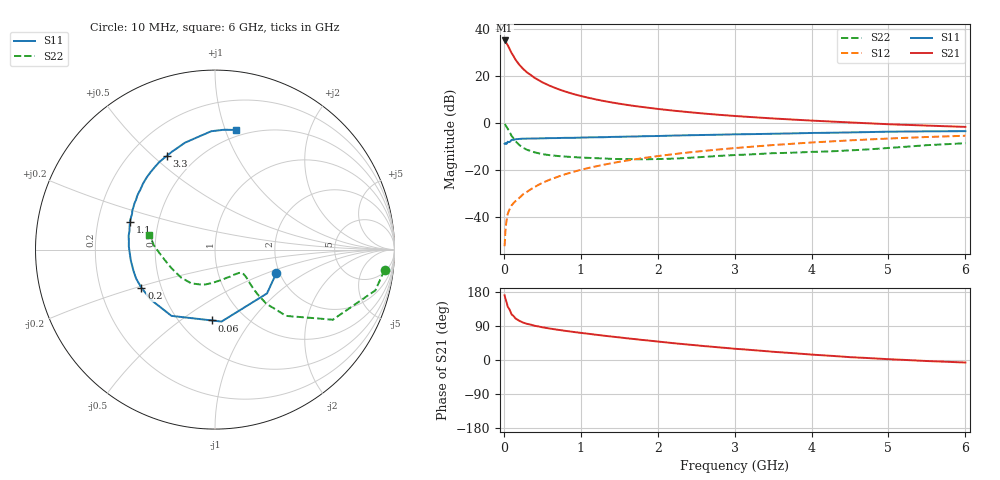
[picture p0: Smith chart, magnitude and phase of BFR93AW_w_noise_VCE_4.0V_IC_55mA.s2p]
! Infineon Technologies  Discrete & RF Semiconductors
! BFR93AW
! VCE =  4.0 V,  IC =  55 mA
! Common Emitter S-Parameters:  Jan 2017
# GHz  S  MA  R  50
!  f  S11  S21  S12  S22
! GHz  MAG  ANG  MAG  ANG  MAG  ANG  MAG  ANG
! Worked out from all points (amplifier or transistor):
!   77 points, 10 MHz to 6 GHz, reference 50 ohm
!   highest |S21| = 35.2 dB at 10 MHz (marker M1)
!   |S21| within 3 dB of that: start of sweep to 65.59 MHz
!   unconditionally stable (mu >= 1): 398.7 MHz to 2.082 GHz
!   at 130 MHz: K = 0.66, MSG = 31.1 dB, |S12| = -33.9 dB
!   at 2.2 GHz: K = 0.99, MSG = 9.3 dB, |S12| = -13.2 dB
!   at 6 GHz: K = 0.90, MSG = 1.9 dB, |S12| = -5.3 dB
!   lowest NFmin = 2.42 dB at 450 MHz
!   S11 on the Smith chart (normalised r, x): 10 MHz: 1.93, -0.58; 60 MHz: 0.71, -0.66; 200 MHz: 0.39, -0.21; 1.1 GHz: 0.34, +0.14; 3.3 GHz: 0.35, +0.56; 6 GHz: 0.44, +1.09
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0.01  0.3659 -20.8  57.83 170.7  0.0024 79.5  0.9513 -6.9
0.02  0.3789 -40.1  56.32 162.2  0.005 78.7  0.9215 -14.3
0.05  0.4025 -84.8  45.98 140.8  0.0117 65.5  0.7636 -30.8
0.06  0.395 -92.8  42.72 137.9  0.0129 64.4  0.7168 -32.6
0.1  0.4417 -123.3  31.34 120.5  0.0177 61.4  0.5403 -43.1
0.15  0.4536 -142.0  22.75 110.0  0.0218 61.0  0.414 -46.5
0.2  0.4617 -152.5  17.65 103.5  0.0255 64.6  0.3437 -46.4
0.25  0.4682 -159.8  14.39 98.8  0.0305 65.9  0.3007 -45.4
0.3  0.4693 -165.2  12.1 95.5  0.0344 67.8  0.2714 -44.1
0.4  0.4726 -172.3  9.225 90.3  0.0437 70.5  0.2389 -41.9
0.5  0.4756 -177.8  7.424 86.4  0.0535 71.3  0.2192 -40.9
0.6  0.4805 177.9  6.235 82.9  0.0628 72.0  0.2079 -40.6
0.7  0.4823 174.2  5.363 79.9  0.0721 72.7  0.2 -40.7
0.9  0.4876 167.7  4.195 74.2  0.0917 72.4  0.1898 -43.0
1.1  0.498 162.0  3.474 69.2  0.1111 71.8  0.1825 -46.6
1.5  0.5126 152.3  2.599 59.7  0.1504 69.3  0.1721 -57.6
2.1  0.5384 139.3  1.932 46.7  0.2085 64.3  0.1737 -80.1
3.1  0.5811 120.5  1.389 28.3  0.304 54.7  0.2125 -114.3
3.3  0.5875 117.0  1.322 25.1  0.3227 52.6  0.2202 -119.9
4.1  0.6214 104.1  1.115 13.0  0.3961 43.8  0.2467 -143.6
5.1  0.6612 90.5  0.937 1.2  0.478 32.7  0.3044 -174.8
6  0.6767 80.1  0.834 -6.7  0.5403 22.5  0.3744 167.4
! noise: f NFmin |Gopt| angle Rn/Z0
0.45  2.42  0.28  -177  0.18
0.9  2.73  0.33  -166  0.19
1.9  3.88  0.54  -131  0.46
2.4  4.64  0.58  -122  0.86
